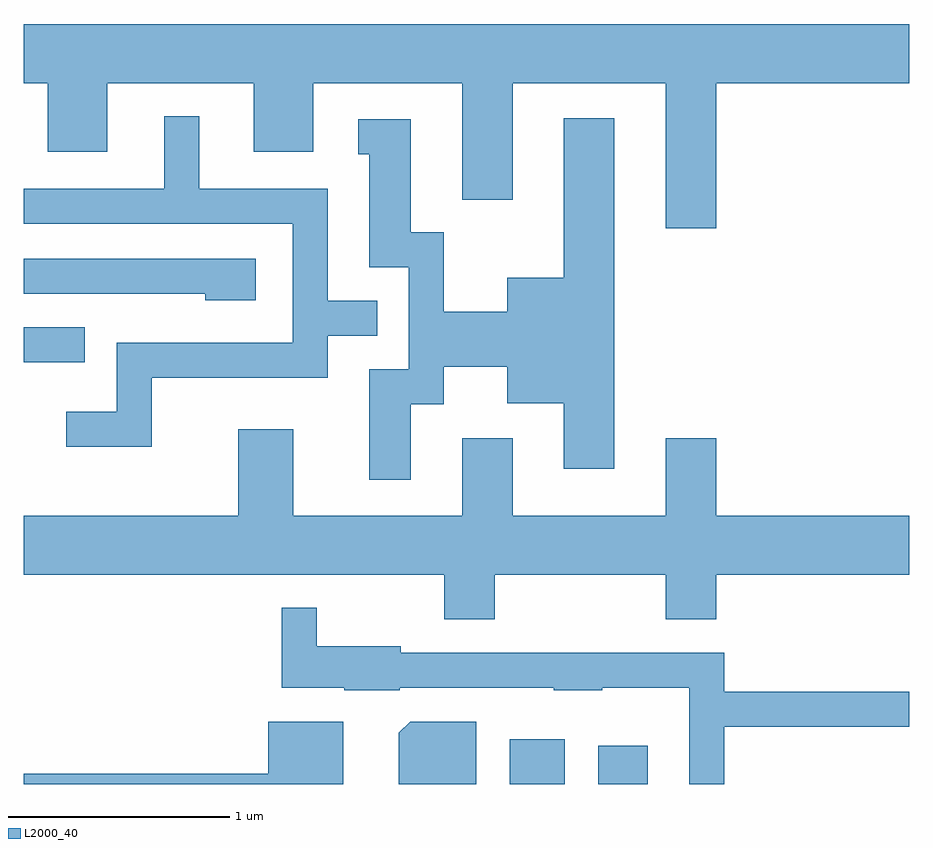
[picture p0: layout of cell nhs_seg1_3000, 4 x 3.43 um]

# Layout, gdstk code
import gdstk
lib = gdstk.Library(unit=1e-6, precision=1e-09)
def R(c, l, rs):  # rectangles x0, y0, x1, y1
    for r in rs: c.add(gdstk.rectangle(r[:2], r[2:], *l))
def P(c, l, *ps):  # polygons
    for p in ps: c.add(gdstk.Polygon(p, *l))
L2000_40 = (2000, 40)

nhs_seg1_3000 = lib.new_cell('nhs_seg1_3000')
R(nhs_seg1_3000, L2000_40, [(277.806,929.712,278.054,929.914), (278.206,929.712,278.429,929.884), (275.611,931.616,275.888,931.774)])
P(nhs_seg1_3000, L2000_40, [(278.739,932.876),(279.611,932.876),(279.611,933.144),(275.611,933.144),(275.611,932.876),(275.721,932.876),(275.721,932.566),(275.989,932.566),(275.989,932.876),(276.651,932.876),(276.651,932.566),(276.919,932.566),(276.919,932.876),(277.591,932.876),(277.591,932.351),(277.819,932.351),(277.819,932.876),(278.511,932.876),(278.511,932.221),(278.739,932.221)],
  [(276.189,931.546),(276.984,931.546),(276.984,931.736),(277.208,931.736),(277.208,931.894),(276.984,931.894),(276.984,932.399),(276.404,932.399),(276.404,932.728),(276.246,932.728),(276.246,932.399),(275.611,932.399),(275.611,932.241),(276.826,932.241),(276.826,931.704),(276.031,931.704),(276.031,931.394),(275.803,931.394),(275.803,931.236),(276.189,931.236)],
  [(277.359,931.426),(277.509,931.426),(277.509,931.596),(277.796,931.596),(277.796,931.431),(278.051,931.431),(278.051,931.136),(278.279,931.136),(278.279,932.719),(278.051,932.719),(278.051,931.999),(277.796,931.999),(277.796,931.844),(277.509,931.844),(277.509,932.204),(277.359,932.204),(277.359,932.714),(277.123,932.714),(277.123,932.556),(277.171,932.556),(277.171,932.046),(277.351,932.046),(277.351,931.584),(277.171,931.584),(277.171,931.086),(277.359,931.086)],
  [(276.659,932.084),(275.611,932.084),(275.611,931.926),(276.431,931.926),(276.431,931.896),(276.659,931.896)],
  [(277.739,930.656),(278.511,930.656),(278.511,930.456),(278.739,930.456),(278.739,930.656),(279.611,930.656),(279.611,930.924),(278.739,930.924),(278.739,931.274),(278.511,931.274),(278.511,930.924),(277.819,930.924),(277.819,931.274),(277.591,931.274),(277.591,930.924),(276.829,930.924),(276.829,931.314),(276.581,931.314),(276.581,930.924),(275.611,930.924),(275.611,930.656),(277.511,930.656),(277.511,930.456),(277.739,930.456)],
  [(278.774,929.971),(279.611,929.971),(279.611,930.129),(278.774,930.129),(278.774,930.304),(277.314,930.304),(277.314,930.334),(276.934,930.334),(276.934,930.508),(276.776,930.508),(276.776,930.146),(277.06,930.146),(277.06,930.136),(277.31,930.136),(277.31,930.146),(278.005,930.146),(278.005,930.136),(278.225,930.136),(278.225,930.146),(278.616,930.146),(278.616,929.712),(278.774,929.712)],
  [(277.654,929.994),(277.357,929.994),(277.306,929.944),(277.306,929.712),(277.654,929.712)],
  [(277.054,929.994),(276.716,929.994),(276.716,929.759),(275.611,929.759),(275.611,929.712),(277.054,929.712)])

lib.write_gds('nhs_seg1_3000.gds')
